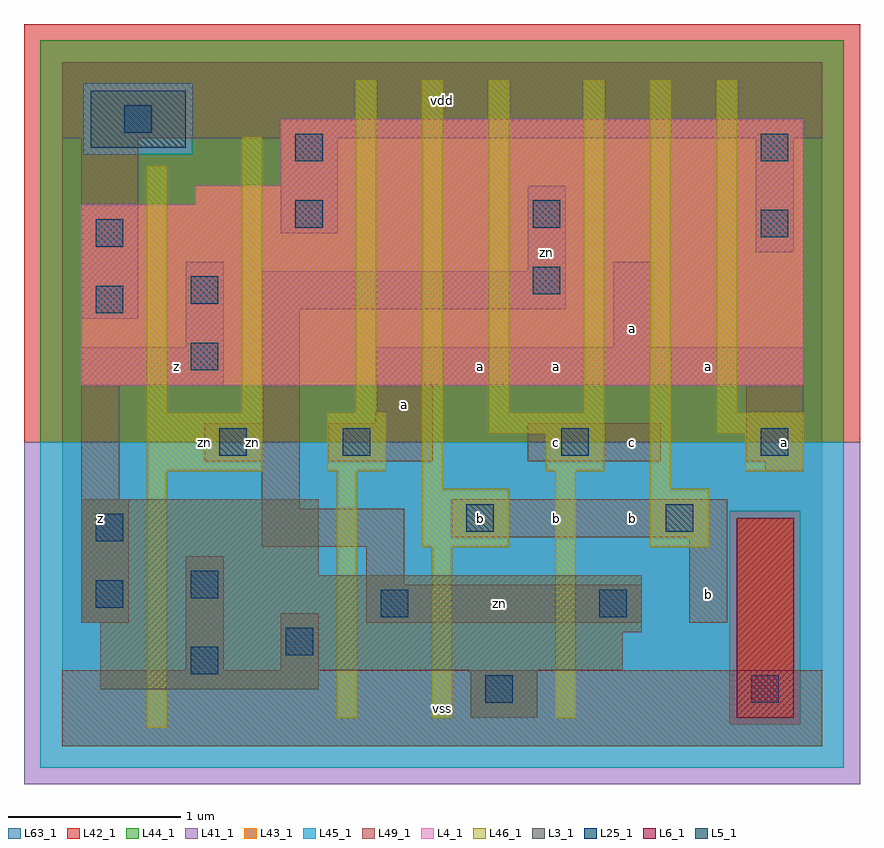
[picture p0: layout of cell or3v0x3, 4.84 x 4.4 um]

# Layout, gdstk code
import gdstk
lib = gdstk.Library(unit=1e-6, precision=1e-09)
def R(c, l, rs):  # rectangles x0, y0, x1, y1
    for r in rs: c.add(gdstk.rectangle(r[:2], r[2:], *l))
L3_1 = (3, 1)
L4_1 = (4, 1)
L5_1 = (5, 1)
L6_1 = (6, 1)
L25_1 = (25, 1)
L41_1 = (41, 1)
L42_1 = (42, 1)
L43_1 = (43, 1)
L44_1 = (44, 1)
L45_1 = (45, 1)
L46_1 = (46, 1)
L49_1 = (49, 1)
L63_1 = (63, 1)

or3v0x3 = lib.new_cell('or3v0x3')
R(or3v0x3, L3_1, [(2.365,0.165,2.75,0.44), (0.22,0.33,1.485,0.44), (0.22,0.44,3.245,0.66), (0.22,0.66,3.355,0.715), (0.11,0.715,3.355,0.99), (0.11,0.99,1.485,1.43)])
R(or3v0x3, L4_1, [(0.11,2.09,4.29,3.135), (0.77,3.135,4.29,3.245), (1.265,3.245,4.29,3.63)])
R(or3v0x3, L5_1, [(0.165,3.465,0.715,3.795)])
R(or3v0x3, L6_1, [(3.905,0.165,4.235,1.32)])
R(or3v0x3, L25_1, [(2.45,0.25,2.61,0.41), (3.99,0.25,4.15,0.41), (0.745,0.415,0.905,0.575), (1.295,0.525,1.455,0.685), (1.845,0.745,2.005,0.905), (3.11,0.745,3.27,0.905), (0.195,0.8,0.355,0.96), (0.745,0.855,0.905,1.015), (0.195,1.185,0.355,1.345), (2.34,1.24,2.5,1.4), (3.495,1.24,3.655,1.4), (0.91,1.68,1.07,1.84), (1.625,1.68,1.785,1.84), (2.89,1.68,3.05,1.84), (4.045,1.68,4.205,1.84), (0.745,2.175,0.905,2.335), (0.195,2.505,0.355,2.665), (0.745,2.56,0.905,2.72), (2.725,2.615,2.885,2.775), (0.195,2.89,0.355,3.05), (4.045,2.945,4.205,3.105), (1.35,3,1.51,3.16), (2.725,3,2.885,3.16), (1.35,3.385,1.51,3.545), (4.045,3.385,4.205,3.545), (0.36,3.55,0.52,3.71)])
R(or3v0x3, L41_1, [(-0.22,-0.22,4.62,1.76)])
R(or3v0x3, L42_1, [(-0.22,1.76,4.62,4.18)])
R(or3v0x3, L43_1, [(2.365,0.165,2.75,0.44), (3.905,0.165,4.235,1.32), (0.22,0.33,1.485,0.44), (0.22,0.44,3.245,0.66), (0.22,0.66,3.355,0.715), (0.11,0.715,3.355,0.99), (0.11,0.99,1.485,1.43), (0.11,2.09,4.29,3.135), (0.77,3.135,4.29,3.245), (1.265,3.245,4.29,3.63), (0.165,3.465,0.715,3.795)])
R(or3v0x3, L44_1, [(3.865,0.125,4.275,1.36), (-0.125,1.76,4.525,3.425), (-0.125,3.425,0.125,3.835), (0.755,3.425,4.525,3.835), (-0.125,3.835,4.525,4.085)])
R(or3v0x3, L45_1, [(-0.125,-0.125,4.525,0.125), (-0.125,0.125,3.865,1.36), (4.275,0.125,4.525,1.36), (-0.125,1.36,4.525,1.76), (0.125,3.425,0.755,3.835)])
R(or3v0x3, L46_1, [(0.49,0.105,0.61,1.59), (1.59,0.16,1.71,1.59), (2.14,0.16,2.26,1.15), (2.855,0.16,2.975,1.59), (2.085,1.15,2.59,1.49), (3.405,1.15,3.745,1.49), (2.085,1.49,2.205,3.855), (3.405,1.49,3.525,3.855), (0.49,1.59,1.16,1.93), (1.535,1.59,1.875,1.93), (2.8,1.59,3.14,1.81), (3.955,1.59,4.295,1.81), (2.47,1.81,3.14,1.93), (3.79,1.81,4.295,1.93), (0.49,1.93,0.61,3.36), (1.04,1.93,1.16,3.525), (1.7,1.93,1.82,3.855), (2.47,1.93,2.59,3.855), (3.02,1.93,3.14,3.855), (3.79,1.93,3.91,3.855)])
R(or3v0x3, L49_1, [(0,0,4.4,0.44), (0.715,0.44,0.935,1.1), (1.265,0.44,1.485,0.77), (0.11,0.715,0.385,1.43), (1.76,0.715,3.355,0.935), (3.63,0.715,3.85,1.21), (1.76,0.935,1.98,1.155), (1.155,1.155,1.98,1.375), (2.255,1.21,3.85,1.43), (1.155,1.375,1.375,1.65), (0.11,1.43,0.33,2.09), (4.07,1.595,4.29,1.65), (0.825,1.65,1.375,1.87), (1.54,1.65,2.145,1.87), (2.695,1.65,3.465,1.87), (3.96,1.65,4.29,2.09), (1.155,1.87,1.375,2.53), (1.815,1.87,2.145,2.09), (0.11,2.09,0.935,2.31), (1.815,2.09,4.29,2.31), (0.715,2.31,0.935,2.805), (3.19,2.31,3.41,2.805), (0.11,2.475,0.44,3.52), (1.155,2.53,2.915,2.75), (2.695,2.75,2.915,3.245), (4.015,2.86,4.235,3.52), (1.265,2.97,1.595,3.52), (0,3.52,4.4,3.96)])
R(or3v0x3, L63_1, [(0,0,4.4,3.96)])
or3v0x3.add(gdstk.Label('zn', (0.825,1.76), layer=46, texttype=1))
or3v0x3.add(gdstk.Label('z', (0.22,1.32), layer=49, texttype=1))
or3v0x3.add(gdstk.Label('zn', (1.1,1.76), layer=49, texttype=1))
or3v0x3.add(gdstk.Label('z', (0.66,2.2), layer=49, texttype=1))
or3v0x3.add(gdstk.Label('vss', (2.2,0.22), layer=49, texttype=1))
or3v0x3.add(gdstk.Label('b', (2.42,1.32), layer=49, texttype=1))
or3v0x3.add(gdstk.Label('a', (2.42,2.2), layer=49, texttype=1))
or3v0x3.add(gdstk.Label('a', (1.98,1.98), layer=49, texttype=1))
or3v0x3.add(gdstk.Label('vdd', (2.2,3.74), layer=49, texttype=1))
or3v0x3.add(gdstk.Label('zn', (2.53,0.825), layer=49, texttype=1))
or3v0x3.add(gdstk.Label('b', (2.86,1.32), layer=49, texttype=1))
or3v0x3.add(gdstk.Label('b', (3.3,1.32), layer=49, texttype=1))
or3v0x3.add(gdstk.Label('c', (3.3,1.76), layer=49, texttype=1))
or3v0x3.add(gdstk.Label('c', (2.86,1.76), layer=49, texttype=1))
or3v0x3.add(gdstk.Label('a', (2.86,2.2), layer=49, texttype=1))
or3v0x3.add(gdstk.Label('a', (3.3,2.42), layer=49, texttype=1))
or3v0x3.add(gdstk.Label('zn', (2.805,2.86), layer=49, texttype=1))
or3v0x3.add(gdstk.Label('b', (3.74,0.88), layer=49, texttype=1))
or3v0x3.add(gdstk.Label('a', (4.18,1.76), layer=49, texttype=1))
or3v0x3.add(gdstk.Label('a', (3.74,2.2), layer=49, texttype=1))

lib.write_gds('or3v0x3.gds')
